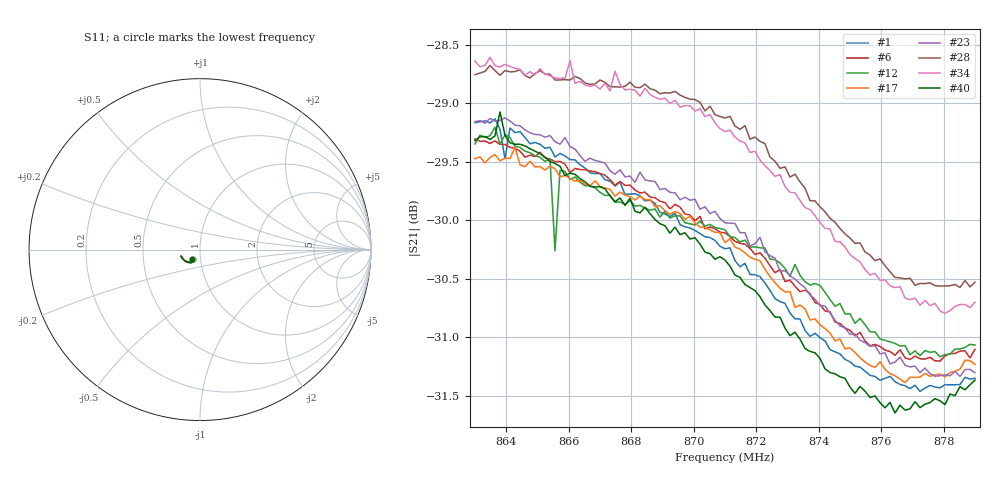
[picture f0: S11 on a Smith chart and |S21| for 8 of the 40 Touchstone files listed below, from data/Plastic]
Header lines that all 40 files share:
# HZ S RI R 50
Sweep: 863 MHz to 879 MHz
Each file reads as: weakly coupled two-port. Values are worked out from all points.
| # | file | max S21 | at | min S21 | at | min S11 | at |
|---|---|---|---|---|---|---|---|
| 1 | po11s6.s2p | -29.13 dB | 863.64 MHz | -31.5 dB | 877.24 MHz | -23.6 dB | 864.44 MHz |
| 2 | po11s7.s2p | -29.45 dB | 863.96 MHz | -31.1 dB | 876.92 MHz | -24.4 dB | 864.92 MHz |
| 3 | po11s9.s2p | -29.29 dB | 863.48 MHz | -31.1 dB | 876.76 MHz | -23.7 dB | 866.2 MHz |
| 4 | po12s0.s2p | -29.17 dB | 863.96 MHz | -31.4 dB | 878.04 MHz | -23.5 dB | 864.44 MHz |
| 5 | po12s2.s2p | -29.49 dB | 863.48 MHz | -31.4 dB | 878.2 MHz | -23.7 dB | 865.08 MHz |
| 6 | po12s4.s2p | -29.30 dB | 863 MHz | -31.2 dB | 877.88 MHz | -23.6 dB | 864.44 MHz |
| 7 | po12s7.s2p | -29.30 dB | 864.76 MHz | -31.1 dB | 878.2 MHz | -23.5 dB | 865.24 MHz |
| 8 | po12s8.s2p | -28.92 dB | 863.96 MHz | -31.2 dB | 878.52 MHz | -24.0 dB | 863.96 MHz |
| 9 | po12s10.s2p | -29.29 dB | 863 MHz | -31.2 dB | 878.04 MHz | -23.6 dB | 864.44 MHz |
| 10 | po13s0.s2p | -28.59 dB | 868.6 MHz | -31.4 dB | 878.36 MHz | -23.8 dB | 864.44 MHz |
| 11 | po13s9.s2p | -29.12 dB | 863.16 MHz | -31.2 dB | 878.04 MHz | -23.7 dB | 863.96 MHz |
| 12 | po13s10.s2p | -29.20 dB | 863.64 MHz | -31.2 dB | 877.88 MHz | -23.8 dB | 863.96 MHz |
| 13 | po13s11.s2p | -29.24 dB | 863 MHz | -31.0 dB | 876.92 MHz | -23.8 dB | 865.24 MHz |
| 14 | po13s12.s2p | -29.38 dB | 863.16 MHz | -31.1 dB | 878.52 MHz | -23.8 dB | 864.76 MHz |
| 15 | po13s13.s2p | -28.97 dB | 863.64 MHz | -31.1 dB | 877.88 MHz | -24.0 dB | 864.92 MHz |
| 16 | po13s14.s2p | -29.26 dB | 865.4 MHz | -31.2 dB | 878.2 MHz | -23.7 dB | 864.44 MHz |
| 17 | po14s1.s2p | -29.38 dB | 864.28 MHz | -31.4 dB | 876.76 MHz | -23.6 dB | 864.44 MHz |
| 18 | po14s3.s2p | -29.24 dB | 863.16 MHz | -31.1 dB | 878.2 MHz | -23.6 dB | 865.08 MHz |
| 19 | po15s3.s2p | -29.55 dB | 863.64 MHz | -31.5 dB | 878.36 MHz | -23.6 dB | 865.4 MHz |
| 20 | po15s7.s2p | -28.67 dB | 864.12 MHz | -31.5 dB | 878.84 MHz | -23.9 dB | 864.44 MHz |
| 21 | po16s0.s2p | -29.04 dB | 863.16 MHz | -31.5 dB | 878.52 MHz | -23.7 dB | 864.44 MHz |
| 22 | po16s2.s2p | -29.38 dB | 863 MHz | -31.1 dB | 878.68 MHz | -23.6 dB | 864.44 MHz |
| 23 | po16s3.s2p | -29.12 dB | 863.96 MHz | -31.3 dB | 878.52 MHz | -23.7 dB | 865.88 MHz |
| 24 | po16s4.s2p | -29.15 dB | 863.96 MHz | -31.0 dB | 877.4 MHz | -23.6 dB | 864.44 MHz |
| 25 | po16s10.s2p | -28.82 dB | 863.96 MHz | -31.1 dB | 877.72 MHz | -23.9 dB | 865.24 MHz |
| 26 | po17s4.s2p | -28.56 dB | 864.6 MHz | -30.7 dB | 878.2 MHz | -23.9 dB | 864.6 MHz |
| 27 | po17s5.s2p | -28.68 dB | 863.96 MHz | -30.7 dB | 878.84 MHz | -23.6 dB | 865.08 MHz |
| 28 | po17s6.s2p | -28.68 dB | 863.48 MHz | -30.6 dB | 878.52 MHz | -23.8 dB | 865.4 MHz |
| 29 | po17s7.s2p | -28.53 dB | 865.08 MHz | -30.8 dB | 878.68 MHz | -23.7 dB | 865.24 MHz |
| 30 | po18s0.s2p | -28.81 dB | 864.12 MHz | -30.8 dB | 878.52 MHz | -23.7 dB | 864.44 MHz |
| 31 | po18s2.s2p | -28.28 dB | 864.92 MHz | -31.3 dB | 878.84 MHz | -24.1 dB | 866.04 MHz |
| 32 | po18s4.s2p | -28.70 dB | 863.32 MHz | -30.9 dB | 878.04 MHz | -23.6 dB | 864.44 MHz |
| 33 | po18s5.s2p | -27.33 dB | 866.04 MHz | -30.8 dB | 878.84 MHz | -23.9 dB | 865.08 MHz |
| 34 | po18s7.s2p | -28.61 dB | 863.48 MHz | -30.8 dB | 878.04 MHz | -23.9 dB | 866.04 MHz |
| 35 | po19s7.s2p | -28.72 dB | 863.48 MHz | -31.5 dB | 877.88 MHz | -24.3 dB | 864.76 MHz |
| 36 | po19s8.s2p | -29.01 dB | 863.96 MHz | -31.5 dB | 877.88 MHz | -23.9 dB | 864.44 MHz |
| 37 | po19s9.s2p | -28.73 dB | 863.48 MHz | -31.2 dB | 878.2 MHz | -23.6 dB | 864.12 MHz |
| 38 | po19s11.s2p | -28.89 dB | 863 MHz | -31.4 dB | 877.88 MHz | -23.7 dB | 865.08 MHz |
| 39 | po20s2.s2p | -29.22 dB | 863 MHz | -31.5 dB | 878.04 MHz | -24.0 dB | 865.24 MHz |
| 40 | po20s4.s2p | -29.07 dB | 863.8 MHz | -31.6 dB | 876.44 MHz | -24.0 dB | 863.8 MHz |
